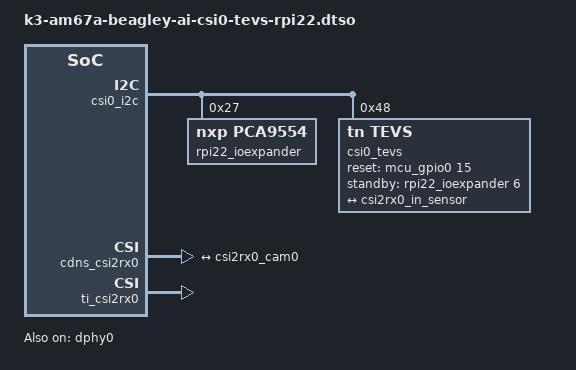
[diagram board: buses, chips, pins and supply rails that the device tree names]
// SPDX-License-Identifier: GPL-2.0
/**
 *
 * Copyright (C) 2024 TechNexion
 */

/dts-v1/;
/plugin/;

#include <dt-bindings/gpio/gpio.h>
//#include "k3-pinctrl.h"

/*
 * Helper to show loaded overlays under: /proc/device-tree/chosen/overlays/
 */
&{/chosen} {
	overlays {
		k3-am67a-beagley-ai-csi0-tevs-rpi22.kernel = __TIMESTAMP__;
	};
};

&csi0_i2c {
	#address-cells = <1>;
	#size-cells = <0>;

	rpi22_ioexpander: pca9554@27 {
		compatible = "nxp,pca9554";
		reg = <0x27>;
		gpio-controller;
		#gpio-cells = <2>;
		gpio-line-names = "EXPOSURE_TRIG_IN1",
						  "FLASH_OUT1",
						  "CAM_SHUTTER1",
						  "XVS1",
						  "CSI1_PDB",
						  "CSI1_INT",
						  "INFO_TRIG_IN1",
						  "CSI1_RST_N";
		status = "okay";
	};

	csi0_tevs: csi0_tevs@48 {
		status = "okay";
		compatible = "tn,tevs";
		reg = <0x48>;

		pinctrl-names = "default";
		pinctrl-0 = <&csi0_gpio_pins_default>;
		reset-gpios = <&mcu_gpio0 15 GPIO_ACTIVE_HIGH>;
		standby-gpios = <&rpi22_ioexpander 6 GPIO_ACTIVE_HIGH>;

		data-lanes = <4>;
		data-frequency = <800>;
		continuous-clock = <0>;

		port {
			csi2rx0_cam0: endpoint {
				remote-endpoint = <&csi2rx0_in_sensor>;
				clock-lanes = <0>;
				data-lanes = <1 2 3 4>;
			};
		};
	};
};

&cdns_csi2rx0 {
	ports {
		#address-cells = <1>;
		#size-cells = <0>;

		csi0_port0: port@0 {
			reg = <0>;
			status = "okay";

			csi2rx0_in_sensor: endpoint {
				remote-endpoint = <&csi2rx0_cam0>;
				bus-type = <4>; /* CSI2 DPHY */
				clock-lanes = <0>;
				data-lanes = <1 2 3 4>;
			};
		};
	};
};

&ti_csi2rx0 {
	status = "okay";
};

&dphy0 {
	status = "okay";
};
